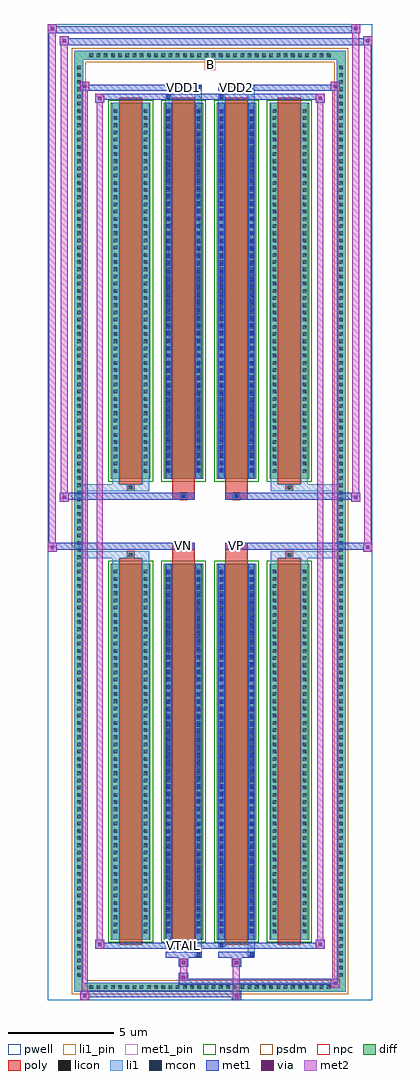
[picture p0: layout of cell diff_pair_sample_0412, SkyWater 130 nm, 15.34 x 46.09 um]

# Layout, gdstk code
import gdstk
lib = gdstk.Library(unit=1e-6, precision=5e-09)
def R(c, l, rs):  # rectangles x0, y0, x1, y1
    for r in rs: c.add(gdstk.rectangle(r[:2], r[2:], *l))
def A(c, l, x, y, w, h, nx, ny, dx, dy):  # array of equal rectangles
    R(c, l, [(x+i*dx, y+j*dy, x+i*dx+w, y+j*dy+h) for i in range(nx) for j in range(ny)])
def P(c, l, *ps):  # polygons
    for p in ps: c.add(gdstk.Polygon(p, *l))
pwell = (64, 44)
diff = (65, 20)
poly = (66, 20)
licon = (66, 44)
li1_pin = (67, 16)
li1 = (67, 20)
mcon = (67, 44)
met1_pin = (68, 16)
met1 = (68, 20)
via = (68, 44)
met2 = (69, 20)
nsdm = (93, 44)
psdm = (94, 20)
npc = (95, 20)

diff_pair_sample_0412 = lib.new_cell('diff_pair_sample_0412')
R(diff_pair_sample_0412, pwell, [(-7.67,-22.61,7.67,23.48), (-4.99,-20.8,-0.01,-0.82), (0.01,-20.8,4.99,-0.82), (-4.99,0.82,-0.01,20.8), (0.01,0.82,4.99,20.8)])
A(diff_pair_sample_0412, diff, -5.815, -22.21, 0.41, 0.41, 34, 2, 0.34, 44.01)
A(diff_pair_sample_0412, diff, -6.4, -21.625, 0.41, 0.41, 1, 127, 0, 0.34)
A(diff_pair_sample_0412, diff, 5.99, -21.625, 0.41, 0.41, 1, 127, 0, 0.34)
A(diff_pair_sample_0412, diff, -4.68, -19.755, 1.86, 17.75, 4, 2, 2.5, 21.76)
R(diff_pair_sample_0412, diff, [(-5.815,-22.21,5.815,-21.8), (-6.4,-21.625,-5.99,21.625), (5.99,-21.625,6.4,21.625), (-5.815,21.8,5.815,22.21)])
P(diff_pair_sample_0412, diff, [(6.4,22.21),(-6.4,22.21),(-6.4,-21.8),(-5.99,-21.8),(-5.99,21.8),(5.99,21.8),(5.99,-21.8),(-5.99,-21.8),(-6.4,-21.8),(-6.4,-22.21),(6.4,-22.21)])
A(diff_pair_sample_0412, poly, -4.29, -20.005, 1.08, 18.25, 4, 2, 2.5, 21.76)
R(diff_pair_sample_0412, poly, [(-3.915,-1.755,-3.585,-1.425), (-3.915,-1.755,-3.585,-1.425), (-1.79,-1.755,-0.71,-1.35), (0.71,-1.755,1.79,-1.35), (3.585,-1.755,3.915,-1.425), (3.585,-1.755,3.915,-1.425), (-1.79,-1.35,-0.71,-1.02), (-1.415,-1.35,-1.085,-1.02), (0.71,-1.35,1.79,-1.02), (1.085,-1.35,1.415,-1.02), (-1.79,1.02,-0.71,1.35), (-1.415,1.02,-1.085,1.35), (0.71,1.02,1.79,1.35), (1.085,1.02,1.415,1.35), (-1.79,1.35,-0.71,1.755), (0.71,1.35,1.79,1.755), (-3.915,1.425,-3.585,1.755), (-3.915,1.425,-3.585,1.755), (3.585,1.425,3.915,1.755), (3.585,1.425,3.915,1.755)])
A(diff_pair_sample_0412, licon, -5.695, -22.09, 0.17, 0.17, 34, 2, 0.34, 44.01)
A(diff_pair_sample_0412, licon, -6.28, -21.505, 0.17, 0.17, 1, 127, 0, 0.34)
A(diff_pair_sample_0412, licon, 6.11, -21.505, 0.17, 0.17, 1, 127, 0, 0.34)
A(diff_pair_sample_0412, licon, -4.54, -19.465, 0.17, 0.17, 1, 51, 0, 0.34)
A(diff_pair_sample_0412, licon, -3.13, -19.465, 0.17, 0.17, 1, 51, 0, 0.34)
A(diff_pair_sample_0412, licon, -2.04, -19.465, 0.17, 0.17, 1, 51, 0, 0.34)
A(diff_pair_sample_0412, licon, -0.63, -19.465, 0.17, 0.17, 1, 51, 0, 0.34)
A(diff_pair_sample_0412, licon, 0.46, -19.465, 0.17, 0.17, 1, 51, 0, 0.34)
A(diff_pair_sample_0412, licon, 1.87, -19.465, 0.17, 0.17, 1, 51, 0, 0.34)
A(diff_pair_sample_0412, licon, 2.96, -19.465, 0.17, 0.17, 1, 51, 0, 0.34)
A(diff_pair_sample_0412, licon, 4.37, -19.465, 0.17, 0.17, 1, 51, 0, 0.34)
A(diff_pair_sample_0412, licon, -4.54, 2.295, 0.17, 0.17, 1, 51, 0, 0.34)
A(diff_pair_sample_0412, licon, -3.13, 2.295, 0.17, 0.17, 1, 51, 0, 0.34)
A(diff_pair_sample_0412, licon, -2.04, 2.295, 0.17, 0.17, 1, 51, 0, 0.34)
A(diff_pair_sample_0412, licon, -0.63, 2.295, 0.17, 0.17, 1, 51, 0, 0.34)
A(diff_pair_sample_0412, licon, 0.46, 2.295, 0.17, 0.17, 1, 51, 0, 0.34)
A(diff_pair_sample_0412, licon, 1.87, 2.295, 0.17, 0.17, 1, 51, 0, 0.34)
A(diff_pair_sample_0412, licon, 2.96, 2.295, 0.17, 0.17, 1, 51, 0, 0.34)
A(diff_pair_sample_0412, licon, 4.37, 2.295, 0.17, 0.17, 1, 51, 0, 0.34)
R(diff_pair_sample_0412, licon, [(-3.835,-1.675,-3.665,-1.505), (3.665,-1.675,3.835,-1.505), (-1.335,-1.27,-1.165,-1.1), (1.165,-1.27,1.335,-1.1), (-1.335,1.1,-1.165,1.27), (1.165,1.1,1.335,1.27), (-3.835,1.505,-3.665,1.675), (3.665,1.505,3.835,1.675)])
R(diff_pair_sample_0412, li1_pin, [(-0.25,21.3,0.25,21.8)])
A(diff_pair_sample_0412, li1, -5.775, -22.17, 0.33, 0.33, 34, 2, 0.34, 44.01)
A(diff_pair_sample_0412, li1, -6.36, -21.585, 0.33, 0.33, 1, 127, 0, 0.34)
A(diff_pair_sample_0412, li1, 6.03, -21.585, 0.33, 0.33, 1, 127, 0, 0.34)
A(diff_pair_sample_0412, li1, -4.62, -19.545, 0.33, 0.33, 1, 51, 0, 0.34)
A(diff_pair_sample_0412, li1, -3.21, -19.545, 0.33, 0.33, 1, 51, 0, 0.34)
A(diff_pair_sample_0412, li1, -2.12, -19.545, 0.33, 0.33, 1, 51, 0, 0.34)
A(diff_pair_sample_0412, li1, -0.71, -19.545, 0.33, 0.33, 1, 51, 0, 0.34)
A(diff_pair_sample_0412, li1, 0.38, -19.545, 0.33, 0.33, 1, 51, 0, 0.34)
A(diff_pair_sample_0412, li1, 1.79, -19.545, 0.33, 0.33, 1, 51, 0, 0.34)
A(diff_pair_sample_0412, li1, 2.88, -19.545, 0.33, 0.33, 1, 51, 0, 0.34)
A(diff_pair_sample_0412, li1, 4.29, -19.545, 0.33, 0.33, 1, 51, 0, 0.34)
A(diff_pair_sample_0412, li1, -2.04, -19.425, 0.17, 0.17, 1, 48, 0, 0.36)
A(diff_pair_sample_0412, li1, -0.63, -19.425, 0.17, 0.17, 1, 48, 0, 0.36)
A(diff_pair_sample_0412, li1, 0.46, -19.425, 0.17, 0.17, 1, 48, 0, 0.36)
A(diff_pair_sample_0412, li1, 1.87, -19.425, 0.17, 0.17, 1, 48, 0, 0.36)
A(diff_pair_sample_0412, li1, -4.62, 2.215, 0.33, 0.33, 1, 51, 0, 0.34)
A(diff_pair_sample_0412, li1, -3.21, 2.215, 0.33, 0.33, 1, 51, 0, 0.34)
A(diff_pair_sample_0412, li1, -2.12, 2.215, 0.33, 0.33, 1, 51, 0, 0.34)
A(diff_pair_sample_0412, li1, -0.71, 2.215, 0.33, 0.33, 1, 51, 0, 0.34)
A(diff_pair_sample_0412, li1, 0.38, 2.215, 0.33, 0.33, 1, 51, 0, 0.34)
A(diff_pair_sample_0412, li1, 1.79, 2.215, 0.33, 0.33, 1, 51, 0, 0.34)
A(diff_pair_sample_0412, li1, 2.88, 2.215, 0.33, 0.33, 1, 51, 0, 0.34)
A(diff_pair_sample_0412, li1, 4.29, 2.215, 0.33, 0.33, 1, 51, 0, 0.34)
A(diff_pair_sample_0412, li1, -2.04, 2.335, 0.17, 0.17, 1, 48, 0, 0.36)
A(diff_pair_sample_0412, li1, -0.63, 2.335, 0.17, 0.17, 1, 48, 0, 0.36)
A(diff_pair_sample_0412, li1, 0.46, 2.335, 0.17, 0.17, 1, 48, 0, 0.36)
A(diff_pair_sample_0412, li1, 1.87, 2.335, 0.17, 0.17, 1, 48, 0, 0.36)
R(diff_pair_sample_0412, li1, [(-6.4,-22.21,-5.99,-21.8), (-6.4,-22.21,-5.99,-21.8), (-5.99,-22.21,5.99,-21.8), (5.99,-22.21,6.4,-21.8), (5.99,-22.21,6.4,-21.8), (-6.4,-21.8,-5.99,21.8), (5.99,-21.8,6.4,21.8), (-0.71,-20.56,-0.38,-19.755), (-0.63,-20.56,-0.46,-20.39), (1.79,-20.56,2.12,-19.755), (1.87,-20.56,2.04,-20.39), (-2.12,-20.13,-1.79,-19.755), (-2.04,-20.13,-1.87,-19.96), (0.38,-20.13,0.71,-19.755), (0.46,-20.13,0.63,-19.96), (-4.62,-19.755,-4.29,-2.005), (-3.21,-19.755,-2.88,-2.005), (-2.12,-19.755,-1.79,-2.005), (-0.71,-19.755,-0.38,-2.005), (0.38,-19.755,0.71,-2.005), (1.79,-19.755,2.12,-2.005), (2.88,-19.755,3.21,-2.005), (4.29,-19.755,4.62,-2.005), (-2.04,-19.425,-1.87,-2.335), (-0.63,-19.425,-0.46,-2.335), (0.46,-19.425,0.63,-2.335), (1.87,-19.425,2.04,-2.335), (-4.62,-2.005,-4.29,-1.425), (-3.21,-2.005,-2.88,-1.425), (2.88,-2.005,3.21,-1.425), (4.29,-2.005,4.62,-1.425), (-6.4,-1.755,-3.915,-1.425), (-4.62,-1.755,-3.915,-1.425), (-3.915,-1.755,-3.585,-1.425), (-3.585,-1.755,-2.88,-1.425), (2.88,-1.755,3.585,-1.425), (3.585,-1.755,3.915,-1.425), (3.585,-1.755,6.4,-1.425), (3.915,-1.755,4.62,-1.425), (-1.415,-1.35,-1.085,-1.02), (1.085,-1.35,1.415,-1.02), (-1.415,1.02,-1.085,1.35), (1.085,1.02,1.415,1.35), (-6.4,1.425,-3.915,1.755), (-4.62,1.425,-3.915,1.755), (-4.62,1.425,-4.29,2.005), (-3.915,1.425,-3.585,1.755), (-3.585,1.425,-2.88,1.755), (-3.21,1.425,-2.88,2.005), (2.88,1.425,3.585,1.755), (2.88,1.425,3.21,2.005), (3.585,1.425,3.915,1.755), (3.585,1.425,6.4,1.755), (3.915,1.425,4.62,1.755), (4.29,1.425,4.62,2.005), (-4.62,2.005,-4.29,19.755), (-3.21,2.005,-2.88,19.755), (-2.12,2.005,-1.79,19.755), (-0.71,2.005,-0.38,19.755), (0.38,2.005,0.71,19.755), (1.79,2.005,2.12,19.755), (2.88,2.005,3.21,19.755), (4.29,2.005,4.62,19.755), (-2.04,2.335,-1.87,19.425), (-0.63,2.335,-0.46,19.425), (0.46,2.335,0.63,19.425), (1.87,2.335,2.04,19.425), (-2.12,19.755,-1.79,20.13), (-0.71,19.755,-0.38,20.56), (0.38,19.755,0.71,20.13), (1.79,19.755,2.12,20.56), (-2.04,19.96,-1.87,20.13), (0.46,19.96,0.63,20.13), (-0.63,20.39,-0.46,20.56), (1.87,20.39,2.04,20.56), (-6.4,21.8,-5.99,22.21), (-6.4,21.8,-5.99,22.21), (-5.99,21.8,5.99,22.21), (5.99,21.8,6.4,22.21), (5.99,21.8,6.4,22.21)])
A(diff_pair_sample_0412, mcon, -2.04, -19.425, 0.17, 0.17, 1, 48, 0, 0.36)
A(diff_pair_sample_0412, mcon, -0.63, -19.425, 0.17, 0.17, 1, 48, 0, 0.36)
A(diff_pair_sample_0412, mcon, 0.46, -19.425, 0.17, 0.17, 1, 48, 0, 0.36)
A(diff_pair_sample_0412, mcon, 1.87, -19.425, 0.17, 0.17, 1, 48, 0, 0.36)
A(diff_pair_sample_0412, mcon, -2.04, 2.335, 0.17, 0.17, 1, 48, 0, 0.36)
A(diff_pair_sample_0412, mcon, -0.63, 2.335, 0.17, 0.17, 1, 48, 0, 0.36)
A(diff_pair_sample_0412, mcon, 0.46, 2.335, 0.17, 0.17, 1, 48, 0, 0.36)
A(diff_pair_sample_0412, mcon, 1.87, 2.335, 0.17, 0.17, 1, 48, 0, 0.36)
R(diff_pair_sample_0412, mcon, [(-0.63,-20.56,-0.46,-20.39), (1.87,-20.56,2.04,-20.39), (-2.04,-20.13,-1.87,-19.96), (0.46,-20.13,0.63,-19.96), (-1.335,-1.27,-1.165,-1.1), (1.165,-1.27,1.335,-1.1), (-1.335,1.1,-1.165,1.27), (1.165,1.1,1.335,1.27), (-2.04,19.96,-1.87,20.13), (0.46,19.96,0.63,20.13), (-0.63,20.39,-0.46,20.56), (1.87,20.39,2.04,20.56)])
R(diff_pair_sample_0412, met1_pin, [(-1.385,-20.17,-1.115,-19.9), (-1.385,-1.29,-1.115,-1.02), (1.115,-1.29,1.385,-1.02), (-1.385,20.35,-1.115,20.62), (1.115,20.35,1.385,20.62)])
A(diff_pair_sample_0412, met1, -2.1, -19.485, 0.29, 0.29, 1, 48, 0, 0.36)
A(diff_pair_sample_0412, met1, -0.69, -19.485, 0.29, 0.29, 1, 48, 0, 0.36)
A(diff_pair_sample_0412, met1, 0.4, -19.485, 0.29, 0.29, 1, 48, 0, 0.36)
A(diff_pair_sample_0412, met1, 1.81, -19.485, 0.29, 0.29, 1, 48, 0, 0.36)
A(diff_pair_sample_0412, met1, -2.1, 2.275, 0.29, 0.29, 1, 48, 0, 0.36)
A(diff_pair_sample_0412, met1, -0.69, 2.275, 0.29, 0.29, 1, 48, 0, 0.36)
A(diff_pair_sample_0412, met1, 0.4, 2.275, 0.29, 0.29, 1, 48, 0, 0.36)
A(diff_pair_sample_0412, met1, 1.81, 2.275, 0.29, 0.29, 1, 48, 0, 0.36)
R(diff_pair_sample_0412, met1, [(-6.13,-22.61,-5.7,-22.18), (1.035,-22.61,1.465,-22.18), (-6.13,-22.47,1.465,-22.18), (5.7,-22.04,6.13,-21.61), (-1.465,-21.9,6.13,-21.61), (-1.465,-21.76,-1.035,-21.33), (-1.465,-21.05,-1.035,-20.62), (1.035,-21.05,1.465,-20.62), (-2.1,-20.62,-0.4,-20.33), (-0.69,-20.62,-0.4,-20.33), (0.4,-20.62,2.1,-20.33), (1.81,-20.62,2.1,-20.33), (-5.42,-20.19,-4.99,-19.76), (-5.42,-20.19,-2.1,-19.9), (-2.1,-20.19,-1.81,-19.9), (-2.1,-20.19,-0.4,-19.9), (-0.4,-20.19,0.4,-19.9), (0.4,-20.19,0.69,-19.9), (0.4,-20.19,2.1,-19.9), (2.1,-20.19,5.42,-19.9), (4.99,-20.19,5.42,-19.76), (-2.1,-19.755,-1.81,-2.005), (-0.69,-19.755,-0.4,-2.005), (0.4,-19.755,0.69,-2.005), (1.81,-19.755,2.1,-2.005), (-7.67,-1.45,-7.24,-1.02), (7.24,-1.45,7.67,-1.02), (-7.67,-1.35,-0.71,-1.02), (-1.79,-1.35,-0.71,-1.02), (0.71,-1.35,1.79,-1.02), (0.71,-1.35,7.67,-1.02), (-1.395,-1.33,-1.105,-1.04), (1.105,-1.33,1.395,-1.04), (-7.1,0.92,-6.67,1.35), (6.67,0.92,7.1,1.35), (-7.1,1.02,-1.79,1.35), (-1.79,1.02,-0.71,1.35), (0.71,1.02,1.79,1.35), (1.79,1.02,7.1,1.35), (-1.395,1.04,-1.105,1.33), (1.105,1.04,1.395,1.33), (-2.1,2.005,-1.81,19.755), (-0.69,2.005,-0.4,19.755), (0.4,2.005,0.69,19.755), (1.81,2.005,2.1,19.755), (-5.42,19.76,-4.99,20.19), (4.99,19.76,5.42,20.19), (-5.42,19.9,-2.1,20.19), (-2.1,19.9,-1.81,20.19), (-2.1,19.9,-0.4,20.19), (-0.4,19.9,0.4,20.19), (0.4,19.9,0.69,20.19), (0.4,19.9,2.1,20.19), (2.1,19.9,5.42,20.19), (-6.13,20.33,-5.7,20.76), (-6.13,20.33,-2.1,20.62), (-2.1,20.33,-0.4,20.62), (-0.69,20.33,-0.4,20.62), (0.4,20.33,2.1,20.62), (1.81,20.33,2.1,20.62), (2.1,20.33,6.13,20.62), (5.7,20.33,6.13,20.76), (-7.1,22.48,-6.67,22.91), (-7.1,22.48,-4.99,22.81), (-4.99,22.48,4.99,22.81), (4.99,22.48,7.67,22.81), (7.24,22.48,7.67,22.91), (-7.67,23.05,-7.24,23.48), (-7.67,23.05,-4.99,23.38), (-4.99,23.05,4.99,23.38), (4.99,23.05,7.1,23.38), (6.67,23.05,7.1,23.48)])
R(diff_pair_sample_0412, via, [(-5.99,-22.47,-5.84,-22.32), (1.175,-22.47,1.325,-22.32), (5.84,-21.9,5.99,-21.75), (-1.325,-21.62,-1.175,-21.47), (-1.325,-20.91,-1.175,-20.76), (1.175,-20.91,1.325,-20.76), (-5.28,-20.05,-5.13,-19.9), (5.13,-20.05,5.28,-19.9), (-7.53,-1.31,-7.38,-1.16), (7.38,-1.31,7.53,-1.16), (-6.96,1.06,-6.81,1.21), (6.81,1.06,6.96,1.21), (-5.28,19.9,-5.13,20.05), (5.13,19.9,5.28,20.05), (-5.99,20.47,-5.84,20.62), (5.84,20.47,5.99,20.62), (-6.96,22.62,-6.81,22.77), (7.38,22.62,7.53,22.77), (-7.53,23.19,-7.38,23.34), (6.81,23.19,6.96,23.34)])
R(diff_pair_sample_0412, met2, [(-6.13,-22.61,-5.7,-22.18), (-6.06,-22.61,-5.77,20.76), (-5.77,-22.61,-5.7,-22.18), (-6.08,-22.56,-5.75,-22.23), (1.085,-22.56,1.415,-22.23), (1.085,-22.23,1.415,-21), (5.7,-22.04,6.13,-21.61), (5.77,-22.04,6.06,20.76), (6.06,-22.04,6.13,-21.61), (5.75,-21.99,6.08,-21.66), (-1.415,-21.71,-1.085,-21.38), (-1.415,-21.38,-1.085,-21), (-1.415,-21,-1.085,-20.67), (1.085,-21,1.415,-20.67), (-5.42,-20.19,-4.99,-19.76), (-5.35,-20.19,-5.06,20.19), (-5.06,-20.19,-4.99,-19.76), (4.99,-20.19,5.42,-19.76), (5.06,-20.19,5.35,20.19), (5.35,-20.19,5.42,-19.76), (-5.37,-20.14,-5.04,-19.81), (5.04,-20.14,5.37,-19.81), (-7.67,-1.45,-7.24,-1.02), (-7.62,-1.45,-7.29,23.48), (-7.29,-1.45,-7.24,-1.02), (7.24,-1.45,7.67,-1.02), (7.29,-1.45,7.62,22.91), (7.62,-1.45,7.67,-1.02), (-7.62,-1.4,-7.29,-1.07), (7.29,-1.4,7.62,-1.07), (-7.1,0.92,-6.67,1.35), (-7.05,0.92,-6.72,22.91), (-6.72,0.92,-6.67,1.35), (6.67,0.92,7.1,1.35), (6.72,0.92,7.05,23.48), (7.05,0.92,7.1,1.35), (-7.05,0.97,-6.72,1.3), (6.72,0.97,7.05,1.3), (-5.42,19.76,-4.99,20.19), (-5.06,19.76,-4.99,20.19), (4.99,19.76,5.42,20.19), (5.35,19.76,5.42,20.19), (-5.37,19.81,-5.04,20.14), (5.04,19.81,5.37,20.14), (-6.13,20.33,-5.7,20.76), (-5.77,20.33,-5.7,20.76), (5.7,20.33,6.13,20.76), (6.06,20.33,6.13,20.76), (-6.08,20.38,-5.75,20.71), (5.75,20.38,6.08,20.71), (-7.1,22.48,-6.67,22.91), (-6.72,22.48,-6.67,22.91), (7.24,22.48,7.67,22.91), (7.62,22.48,7.67,22.91), (-7.05,22.53,-6.72,22.86), (7.29,22.53,7.62,22.86), (-7.67,23.05,-7.24,23.48), (-7.29,23.05,-7.24,23.48), (6.67,23.05,7.1,23.48), (7.05,23.05,7.1,23.48), (-7.62,23.1,-7.29,23.43), (6.72,23.1,7.05,23.43)])
A(diff_pair_sample_0412, nsdm, -4.81, -19.885, 2.12, 18.01, 4, 2, 2.5, 21.76)
P(diff_pair_sample_0412, psdm, [(6.53,22.34),(-6.53,22.34),(-6.53,-21.67),(-5.86,-21.67),(-5.86,21.67),(5.86,21.67),(5.86,-21.67),(-5.86,-21.67),(-6.53,-21.67),(-6.53,-22.34),(6.53,-22.34)])
R(diff_pair_sample_0412, npc, [(-3.935,-1.775,-3.565,-1.405), (3.565,-1.775,3.935,-1.405), (-1.435,-1.37,-1.065,-1), (1.065,-1.37,1.435,-1), (-1.435,1,-1.065,1.37), (1.065,1,1.435,1.37), (-3.935,1.405,-3.565,1.775), (3.565,1.405,3.935,1.775)])
diff_pair_sample_0412.add(gdstk.Label('VTAIL', (-1.25,-20.035), layer=68, texttype=5))
diff_pair_sample_0412.add(gdstk.Label('VN', (-1.25,-1.155), layer=68, texttype=5))
diff_pair_sample_0412.add(gdstk.Label('VP', (1.25,-1.155), layer=68, texttype=5))
diff_pair_sample_0412.add(gdstk.Label('B', (0,21.55), layer=67, texttype=5))
diff_pair_sample_0412.add(gdstk.Label('VDD2', (1.25,20.485), layer=68, texttype=5))
diff_pair_sample_0412.add(gdstk.Label('VDD1', (-1.25,20.485), layer=68, texttype=5))

lib.write_gds('diff_pair_sample_0412.gds')
